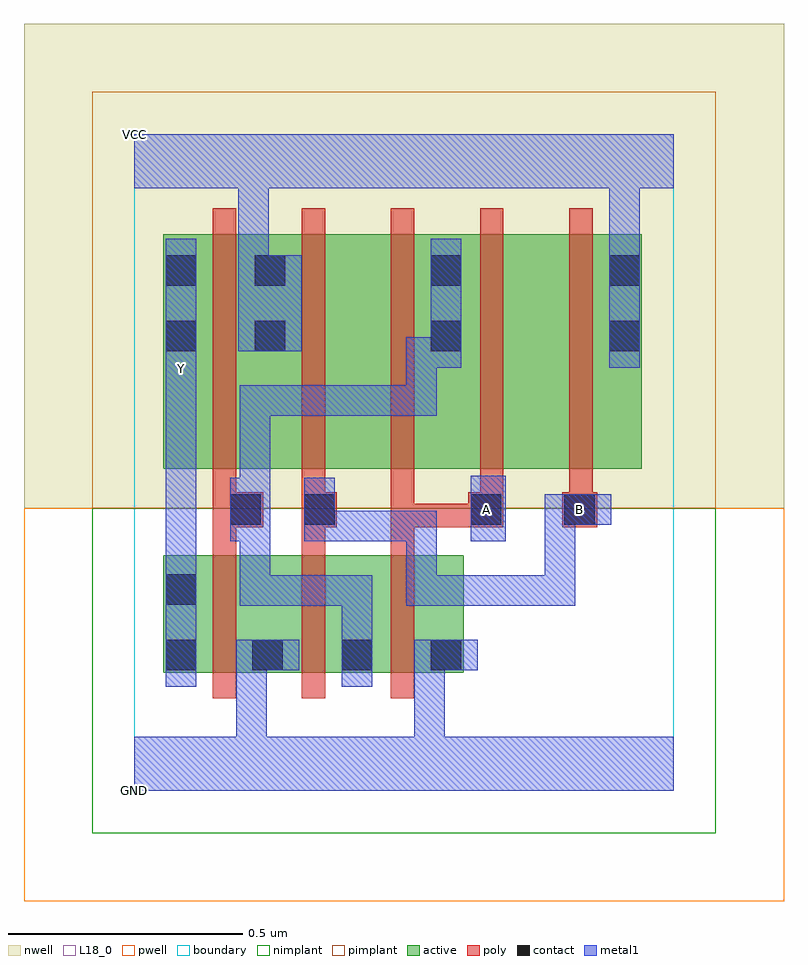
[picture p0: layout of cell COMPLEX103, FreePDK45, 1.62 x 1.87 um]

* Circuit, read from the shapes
.subckt COMPLEX103 A B GND VCC Y
M1 GND n1 Y VSUBS nfet w=0.25u l=0.05u
M2 n1 B GND VSUBS nfet w=0.25u l=0.05u
M3 GND A n1 VSUBS nfet w=0.25u l=0.05u
M4 VCC n1 Y n2 pfet w=0.5u l=0.05u
M5 n3 B VCC n2 pfet w=0.5u l=0.05u
M6 n1 A n3 n2 pfet w=0.5u l=0.05u
M7 n4 A n1 n2 pfet w=0.5u l=0.05u
M8 VCC B n4 n2 pfet w=0.5u l=0.05u
.ends

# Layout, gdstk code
import gdstk
lib = gdstk.Library(unit=1e-6, precision=1e-09)
def R(c, l, rs):  # rectangles x0, y0, x1, y1
    for r in rs: c.add(gdstk.rectangle(r[:2], r[2:], *l))
def A(c, l, x, y, w, h, nx, ny, dx, dy):  # array of equal rectangles
    R(c, l, [(x+i*dx, y+j*dy, x+i*dx+w, y+j*dy+h) for i in range(nx) for j in range(ny)])
active = (1, 0)
pwell = (2, 0)
nwell = (3, 0)
nimplant = (4, 0)
pimplant = (5, 0)
poly = (9, 0)
contact = (10, 0)
metal1 = (11, 0)
L18_0 = (18, 0)
boundary = (235, 0)

complex103 = lib.new_cell('COMPLEX103')
R(complex103, active, [(0.062,0.252,0.137,0.502), (0.062,0.252,0.322,0.502), (0.247,0.252,0.512,0.502), (0.247,0.252,0.322,0.342), (0.437,0.252,0.702,0.502), (0.437,0.252,0.512,0.342), (0.627,0.252,0.702,0.502), (0.062,0.687,0.327,1.187), (0.062,0.687,0.137,1.187), (0.252,0.687,0.477,1.187), (0.477,0.687,0.702,1.187), (0.627,0.687,0.857,1.187), (0.857,0.687,1.082,1.187), (1.007,0.687,1.082,1.157), (0.252,0.807,0.327,1.157), (0.627,0.807,0.702,1.157)])
R(complex103, pwell, [(-0.235,-0.235,1.385,0.602)])
R(complex103, nwell, [(-0.235,0.602,1.385,1.635)])
R(complex103, nimplant, [(-0.09,-0.09,1.24,0.602)])
R(complex103, pimplant, [(-0.09,0.602,1.24,1.49)])
A(complex103, poly, 0.167, 0.197, 0.05, 0.36, 3, 1, 0.19, 0)
A(complex103, poly, 0.167, 0.507, 0.05, 0.105, 3, 1, 0.19, 0)
A(complex103, poly, 0.167, 0.632, 0.05, 0.61, 5, 1, 0.19, 0)
R(complex103, poly, [(0.167,0.562,0.275,0.637), (0.357,0.562,0.432,0.637), (0.547,0.562,0.597,0.612), (0.547,0.562,0.762,0.612), (0.547,0.562,0.597,0.682), (0.712,0.562,0.787,0.637), (0.712,0.562,0.762,0.612), (0.712,0.562,0.762,0.612), (0.912,0.562,0.987,0.637), (0.167,0.587,0.217,0.682), (0.357,0.587,0.407,0.682), (0.737,0.587,0.787,0.682), (0.927,0.587,0.977,0.682)])
A(complex103, contact, 0.252, 0.257, 0.065, 0.065, 3, 1, 0.19, 0)
R(complex103, contact, [(0.067,0.257,0.132,0.322), (0.067,0.397,0.132,0.462), (0.205,0.567,0.27,0.632), (0.362,0.567,0.427,0.632), (0.717,0.567,0.782,0.632), (0.917,0.567,0.982,0.632), (0.067,0.937,0.132,1.002), (0.257,0.937,0.322,1.002), (0.632,0.937,0.697,1.002), (1.012,0.937,1.077,1.002), (0.067,1.077,0.132,1.142), (0.257,1.077,0.322,1.142), (0.632,1.077,0.697,1.142), (1.012,1.077,1.077,1.142)])
R(complex103, metal1, [(0,0,1.15,0.115), (0.217,0.05,0.282,0.115), (0.217,0.05,0.282,0.115), (0.217,0.05,0.282,0.115), (0.217,0.05,0.282,0.115), (0.217,0.05,0.282,0.322), (0.597,0.05,0.662,0.322), (0.067,0.222,0.132,0.497), (0.442,0.222,0.507,0.357), (0.217,0.257,0.352,0.322), (0.597,0.257,0.662,0.322), (0.597,0.257,0.662,0.322), (0.597,0.257,0.662,0.322), (0.597,0.257,0.662,0.322), (0.597,0.257,0.732,0.322), (0.442,0.292,0.507,0.357), (0.442,0.292,0.507,0.46), (0.225,0.395,0.29,0.46), (0.225,0.395,0.29,0.597), (0.225,0.395,0.507,0.46), (0.58,0.395,0.645,0.46), (0.58,0.395,0.782,0.46), (0.58,0.395,0.645,0.597), (0.717,0.395,0.782,0.46), (0.717,0.395,0.94,0.46), (0.875,0.395,0.94,0.46), (0.875,0.395,0.94,0.632), (0.067,0.432,0.132,0.897), (0.205,0.532,0.27,0.667), (0.205,0.532,0.29,0.597), (0.225,0.532,0.29,0.597), (0.225,0.532,0.29,0.865), (0.362,0.532,0.427,0.597), (0.362,0.532,0.427,0.597), (0.362,0.532,0.645,0.597), (0.362,0.532,0.427,0.667), (0.58,0.532,0.645,0.597), (0.58,0.532,0.645,0.597), (0.58,0.532,0.645,0.597), (0.717,0.532,0.792,0.672), (0.875,0.567,0.94,0.632), (0.875,0.567,0.947,0.632), (0.882,0.567,1.017,0.632), (0.225,0.8,0.29,0.865), (0.225,0.8,0.507,0.865), (0.442,0.8,0.507,0.865), (0.442,0.8,0.507,0.865), (0.442,0.8,0.507,0.865), (0.442,0.8,0.645,0.865), (0.58,0.8,0.645,0.967), (0.067,0.832,0.132,0.967), (0.067,0.902,0.132,0.967), (0.067,0.902,0.132,1.177), (0.58,0.902,0.697,0.967), (0.632,0.902,0.697,1.177), (1.012,0.902,1.077,1.177), (0.222,0.937,0.357,1.142), (0.222,1.077,0.287,1.142), (0.222,1.077,0.287,1.142), (0.222,1.077,0.287,1.35), (1.012,1.112,1.077,1.35), (0,1.285,1.15,1.4), (1.012,1.285,1.077,1.35), (1.012,1.285,1.077,1.35)])
R(complex103, L18_0, [(0,0,1.15,0.115), (0.217,0.05,0.282,0.115), (0.217,0.05,0.282,0.115), (0.217,0.05,0.282,0.115), (0.217,0.05,0.282,0.115), (0.217,0.05,0.282,0.322), (0.597,0.05,0.662,0.322), (0.067,0.222,0.132,0.497), (0.217,0.257,0.352,0.322), (0.597,0.257,0.662,0.322), (0.597,0.257,0.662,0.322), (0.597,0.257,0.662,0.322), (0.597,0.257,0.662,0.322), (0.597,0.257,0.732,0.322), (0.58,0.395,0.645,0.46), (0.58,0.395,0.645,0.597), (0.58,0.395,0.782,0.46), (0.717,0.395,0.782,0.46), (0.717,0.395,0.94,0.46), (0.875,0.395,0.94,0.46), (0.875,0.395,0.94,0.632), (0.067,0.432,0.132,0.897), (0.362,0.532,0.427,0.667), (0.362,0.532,0.427,0.597), (0.362,0.532,0.427,0.597), (0.362,0.532,0.645,0.597), (0.58,0.532,0.645,0.597), (0.58,0.532,0.645,0.597), (0.58,0.532,0.645,0.597), (0.717,0.532,0.792,0.672), (0.717,0.567,0.782,0.632), (0.875,0.567,0.94,0.632), (0.875,0.567,0.947,0.632), (0.882,0.567,1.017,0.632), (0.917,0.567,0.982,0.632), (0.067,0.832,0.132,0.967), (0.067,0.867,0.132,0.932), (0.067,0.902,0.132,1.177), (0.067,0.902,0.132,0.967), (1.012,0.902,1.077,1.177), (0.222,0.937,0.357,1.142), (0.222,1.077,0.287,1.142), (0.222,1.077,0.287,1.142), (0.222,1.077,0.287,1.35), (1.012,1.112,1.077,1.35), (0,1.285,1.15,1.4), (1.012,1.285,1.077,1.35), (1.012,1.285,1.077,1.35)])
R(complex103, boundary, [(0,0,1.15,1.4)])
complex103.add(gdstk.Label('A', (0.75,0.6), layer=11, texttype=0))
complex103.add(gdstk.Label('B', (0.95,0.6), layer=11, texttype=0))
complex103.add(gdstk.Label('Y', (0.1,0.9), layer=11, texttype=0))
complex103.add(gdstk.Label('VCC', (0,1.4), layer=11, texttype=0))
complex103.add(gdstk.Label('GND', (0,0), layer=11, texttype=0))

lib.write_gds('COMPLEX103.gds')
